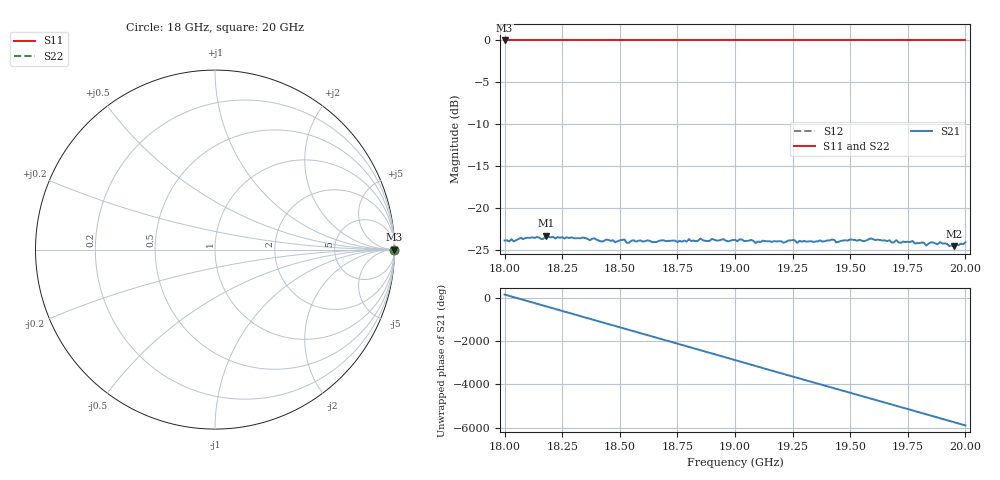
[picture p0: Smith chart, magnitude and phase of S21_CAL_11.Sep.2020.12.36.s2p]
!Agilent N9918A: A.07.57
!Date: Friday, 11 September 2020 12:36:24
!Timezone: (GMT-08:00) Pacific Time (US & Canada)
!Model: N9918A
!Serial: MY53103598
!GPS Latitude:
!GPS Longitude:
!GPS TimeStamp: 0001-01-01 00:00:00Z
!GPS Seconds Since Last Read: 0
!CHECKSUM:0240171588
!Correction: S11()S21(Rdy)S12()S22()
!S2P File: Measurements:S11,S21,S12,S22:
# Hz S DB R 50
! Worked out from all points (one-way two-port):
!   201 points, 18 GHz to 20 GHz, reference 50 ohm
!   highest |S21| = -23.25 dB at 18.18 GHz (marker M1); lowest = -24.5 dB at 19.95 GHz (marker M2)
!   lowest |S11| = 0.0 dB at 18 GHz (marker M3)
!   |S11| at or under -10 dB: nowhere
!   |S22| runs from 0.0 to 0.0 dB; largest |S21 - S12| = 1.1
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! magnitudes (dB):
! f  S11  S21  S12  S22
! 18 GHz  0.0  -23.8  0.0  0.0
! 18.14 GHz  0.0  -23.4  0.0  0.0
! 18.16 GHz  0.0  -23.7  0.0  0.0
! 18.18 GHz  0.0  -23.3  0.0  0.0
! 18.22 GHz  0.0  -23.6  0.0  0.0
! 18.34 GHz  0.0  -23.5  0.0  0.0
! 18.48 GHz  0.0  -24.0  0.0  0.0
! 18.52 GHz  0.0  -23.7  0.0  0.0
! 18.53 GHz  0.0  -24.1  0.0  0.0
! 18.67 GHz  0.0  -23.9  0.0  0.0
! 19 GHz  0.0  -23.8  0.0  0.0
! 19.07 GHz  0.0  -23.7  0.0  0.0
! 19.09 GHz  0.0  -24.1  0.0  0.0
! 19.34 GHz  0.0  -24.0  0.0  0.0
! 19.56 GHz  0.0  -23.9  0.0  0.0
! 19.59 GHz  0.0  -23.6  0.0  0.0
! 19.67 GHz  0.0  -23.8  0.0  0.0
! 19.77 GHz  0.0  -23.9  0.0  0.0
! 19.83 GHz  0.0  -24.4  0.0  0.0
! 19.89 GHz  0.0  -24.0  0.0  0.0
! 19.95 GHz  0.0  -24.5  0.0  0.0
! 20 GHz  0.0  -24.1  0.0  0.0
